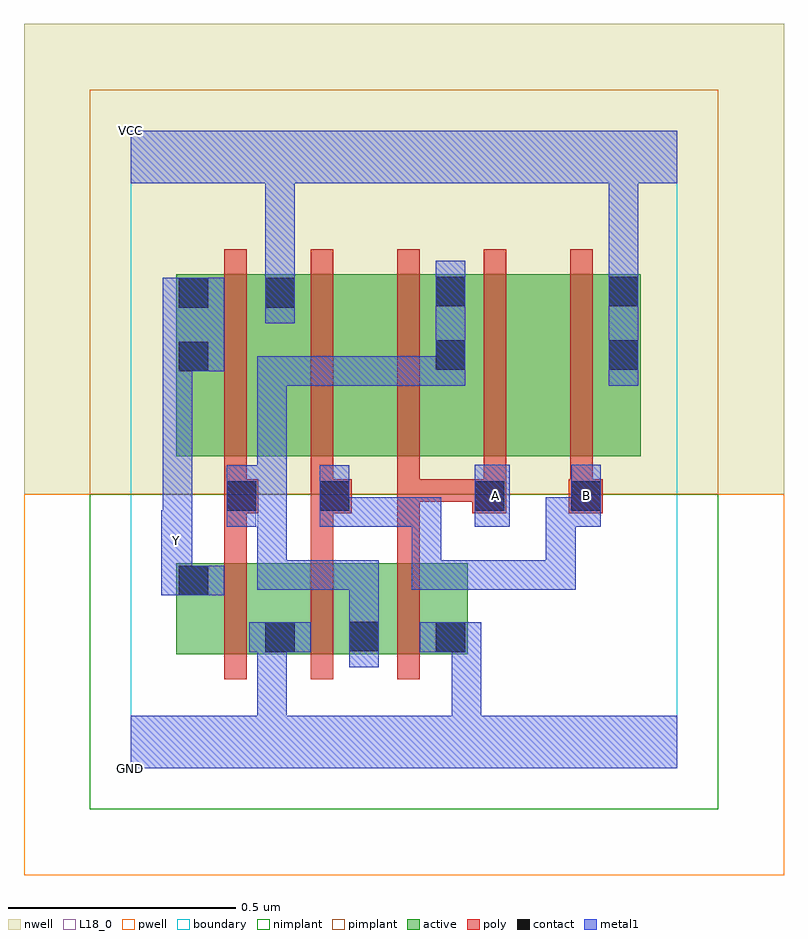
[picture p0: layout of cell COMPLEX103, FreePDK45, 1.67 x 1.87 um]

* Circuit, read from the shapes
.subckt COMPLEX103 A B GND VCC Y
M1 GND n1 Y VSUBS nfet w=0.2u l=0.05u
M2 n1 B GND VSUBS nfet w=0.2u l=0.05u
M3 GND A n1 VSUBS nfet w=0.2u l=0.05u
M4 VCC n1 Y n2 pfet w=0.4u l=0.05u
M5 n3 B VCC n2 pfet w=0.4u l=0.05u
M6 n1 A n3 n2 pfet w=0.4u l=0.05u
M7 n4 A n1 n2 pfet w=0.4u l=0.05u
M8 VCC B n4 n2 pfet w=0.4u l=0.05u
.ends

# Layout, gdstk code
import gdstk
lib = gdstk.Library(unit=1e-6, precision=1e-09)
def R(c, l, rs):  # rectangles x0, y0, x1, y1
    for r in rs: c.add(gdstk.rectangle(r[:2], r[2:], *l))
def A(c, l, x, y, w, h, nx, ny, dx, dy):  # array of equal rectangles
    R(c, l, [(x+i*dx, y+j*dy, x+i*dx+w, y+j*dy+h) for i in range(nx) for j in range(ny)])
active = (1, 0)
pwell = (2, 0)
nwell = (3, 0)
nimplant = (4, 0)
pimplant = (5, 0)
poly = (9, 0)
contact = (10, 0)
metal1 = (11, 0)
L18_0 = (18, 0)
boundary = (235, 0)

complex103 = lib.new_cell('COMPLEX103')
R(complex103, active, [(0.1,0.25,0.175,0.45), (0.1,0.25,0.365,0.45), (0.29,0.25,0.365,0.45), (0.29,0.25,0.55,0.45), (0.475,0.25,0.74,0.45), (0.475,0.25,0.55,0.327), (0.665,0.25,0.74,0.45), (0.1,0.685,0.175,1.085), (0.1,0.685,0.365,1.085), (0.29,0.685,0.515,1.085), (0.515,0.685,0.74,1.085), (0.665,0.685,0.74,1.085), (0.665,0.685,0.895,1.085), (0.895,0.685,1.12,1.085), (1.045,0.685,1.12,1.085), (0.29,0.907,0.365,1.082)])
R(complex103, pwell, [(-0.235,-0.235,1.435,0.602)])
R(complex103, nwell, [(-0.235,0.602,1.435,1.635)])
R(complex103, nimplant, [(-0.09,-0.09,1.29,0.602)])
R(complex103, pimplant, [(-0.09,0.602,1.29,1.49)])
A(complex103, poly, 0.205, 0.195, 0.05, 0.31, 3, 1, 0.19, 0)
A(complex103, poly, 0.205, 0.585, 0.05, 0.095, 5, 1, 0.19, 0)
A(complex103, poly, 0.205, 0.63, 0.05, 0.51, 5, 1, 0.19, 0)
R(complex103, poly, [(0.205,0.455,0.255,0.61), (0.395,0.455,0.445,0.61), (0.585,0.455,0.635,0.635), (0.205,0.56,0.28,0.635), (0.395,0.56,0.485,0.635), (0.75,0.56,0.825,0.635), (0.962,0.56,1.037,0.635), (0.585,0.585,0.8,0.635), (0.585,0.585,0.635,0.635), (0.585,0.585,0.635,0.635), (0.585,0.585,0.635,0.635)])
R(complex103, contact, [(0.295,0.255,0.36,0.32), (0.67,0.255,0.735,0.32), (0.48,0.257,0.545,0.322), (0.105,0.38,0.17,0.445), (0.21,0.565,0.275,0.63), (0.415,0.565,0.48,0.63), (0.755,0.565,0.82,0.63), (0.967,0.565,1.032,0.63), (0.105,0.872,0.17,0.937), (0.67,0.875,0.735,0.94), (1.05,0.875,1.115,0.94), (0.105,1.012,0.17,1.077), (0.295,1.012,0.36,1.077), (0.67,1.015,0.735,1.08), (1.05,1.015,1.115,1.08)])
R(complex103, metal1, [(0,0,1.2,0.115), (0.277,0.05,0.342,0.115), (0.277,0.05,0.342,0.115), (0.277,0.05,0.342,0.115), (0.277,0.05,0.342,0.115), (0.277,0.05,0.342,0.32), (0.705,0.05,0.77,0.115), (0.705,0.05,0.77,0.115), (0.705,0.05,0.77,0.115), (0.705,0.05,0.77,0.115), (0.705,0.05,0.77,0.32), (0.48,0.222,0.545,0.357), (0.26,0.255,0.395,0.32), (0.635,0.255,0.77,0.32), (0.48,0.292,0.545,0.357), (0.48,0.292,0.545,0.457), (0.067,0.38,0.135,0.567), (0.07,0.38,0.135,0.445), (0.07,0.38,0.205,0.445), (0.277,0.392,0.342,0.457), (0.277,0.392,0.545,0.457), (0.277,0.392,0.342,0.665), (0.617,0.392,0.682,0.457), (0.617,0.392,0.682,0.595), (0.617,0.392,0.82,0.457), (0.755,0.392,0.82,0.457), (0.755,0.392,0.977,0.457), (0.912,0.392,0.977,0.457), (0.912,0.392,0.977,0.595), (0.07,0.502,0.135,0.937), (0.21,0.53,0.275,0.665), (0.415,0.53,0.48,0.595), (0.415,0.53,0.48,0.595), (0.415,0.53,0.682,0.595), (0.415,0.53,0.48,0.665), (0.617,0.53,0.682,0.595), (0.617,0.53,0.682,0.595), (0.617,0.53,0.682,0.595), (0.755,0.53,0.832,0.667), (0.912,0.53,0.977,0.595), (0.912,0.53,1.032,0.595), (0.967,0.53,1.032,0.667), (0.21,0.6,0.342,0.665), (0.277,0.6,0.342,0.665), (0.277,0.6,0.342,0.905), (0.277,0.84,0.342,0.905), (0.277,0.84,0.48,0.905), (0.415,0.84,0.48,0.905), (0.415,0.84,0.48,0.905), (0.415,0.84,0.48,0.905), (0.415,0.84,0.682,0.905), (0.617,0.84,0.682,0.905), (0.617,0.84,0.735,0.905), (0.67,0.84,0.735,1.115), (1.05,0.84,1.115,1.115), (0.07,0.872,0.205,1.077), (0.295,0.977,0.36,1.112), (0.295,1.047,0.36,1.112), (0.295,1.047,0.36,1.112), (0.295,1.047,0.36,1.35), (1.05,1.05,1.115,1.115), (1.05,1.05,1.115,1.115), (1.05,1.05,1.115,1.35), (0,1.285,1.2,1.4)])
R(complex103, L18_0, [(0,0,1.2,0.115), (0.277,0.05,0.342,0.115), (0.277,0.05,0.342,0.115), (0.277,0.05,0.342,0.115), (0.277,0.05,0.342,0.115), (0.277,0.05,0.342,0.32), (0.705,0.05,0.77,0.115), (0.705,0.05,0.77,0.115), (0.705,0.05,0.77,0.115), (0.705,0.05,0.77,0.115), (0.705,0.05,0.77,0.32), (0.26,0.255,0.395,0.32), (0.635,0.255,0.77,0.32), (0.067,0.38,0.135,0.567), (0.07,0.38,0.205,0.445), (0.07,0.38,0.135,0.445), (0.617,0.392,0.682,0.457), (0.617,0.392,0.682,0.595), (0.617,0.392,0.82,0.457), (0.755,0.392,0.82,0.457), (0.755,0.392,0.977,0.457), (0.912,0.392,0.977,0.457), (0.912,0.392,0.977,0.595), (0.067,0.467,0.132,0.532), (0.07,0.502,0.135,0.937), (0.415,0.53,0.48,0.595), (0.415,0.53,0.48,0.595), (0.415,0.53,0.48,0.665), (0.415,0.53,0.682,0.595), (0.617,0.53,0.682,0.595), (0.617,0.53,0.682,0.595), (0.617,0.53,0.682,0.595), (0.755,0.53,0.832,0.667), (0.912,0.53,0.977,0.595), (0.912,0.53,1.032,0.595), (0.967,0.53,1.032,0.667), (0.767,0.567,0.832,0.632), (0.967,0.567,1.032,0.632), (1.05,0.84,1.115,1.115), (0.07,0.872,0.205,1.077), (0.295,0.977,0.36,1.112), (0.295,1.047,0.36,1.112), (0.295,1.047,0.36,1.112), (0.295,1.047,0.36,1.35), (1.05,1.05,1.115,1.115), (1.05,1.05,1.115,1.115), (1.05,1.05,1.115,1.35), (0,1.285,1.2,1.4)])
R(complex103, boundary, [(0,0,1.2,1.4)])
complex103.add(gdstk.Label('A', (0.8,0.6), layer=11, texttype=0))
complex103.add(gdstk.Label('B', (1,0.6), layer=11, texttype=0))
complex103.add(gdstk.Label('Y', (0.1,0.5), layer=11, texttype=0))
complex103.add(gdstk.Label('VCC', (0,1.4), layer=11, texttype=0))
complex103.add(gdstk.Label('GND', (0,0), layer=11, texttype=0))

lib.write_gds('COMPLEX103.gds')
